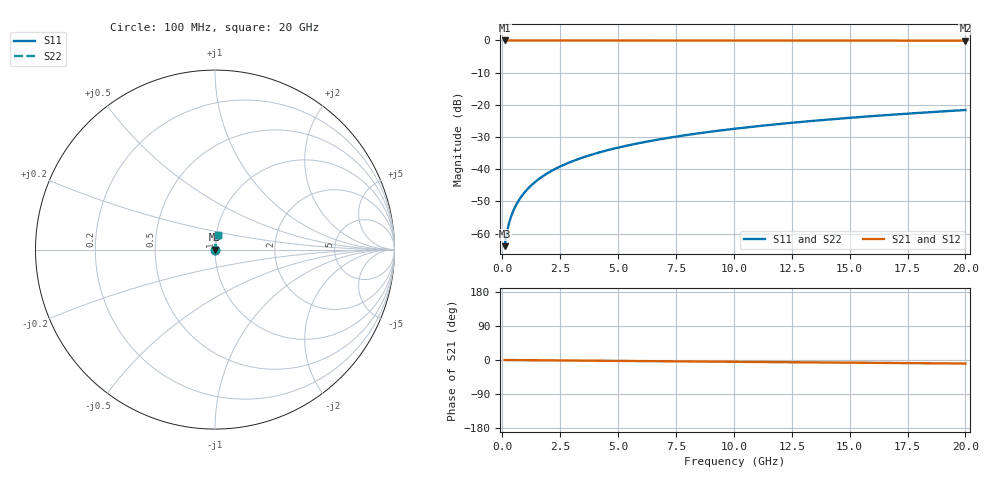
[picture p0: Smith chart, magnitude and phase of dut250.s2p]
! Touchstone file exported from HFSS 2026.1.0
!  File:  C:/ffzhzh/LocalFiles/Ansys_Project_Files/temp_train_TMRDL_250_1782984817_45328.aedt
!  Generated:  05:34:47 PM Jul  2, 2026
!  Design:  TMRDL
!  Project:  temp_train_TMRDL_250_1782984817_45328
! Variables:
!  h_bsmrdl = 2um
!  h_ox = 20um
!  h_rdl = 5um
!  h_sub = 80um
!  h_tmrdl = 5.84um
!  h_tsv = 80um
!  h_via = 3um
!  l_bsmrdl = 300um
!  l_sub = 510.5um
!  l_tmrdl = 110.5um
!  m_sub = 200um
!  pitch = 48.65um
!  r_tsv = 6um
!  s_tmrdl = 10um
!  w_bsmrdl = 18um
!  w_sub = 500um
!  w_tmrdl = 25.41um
!  x_tsv_center1 = 123.205um
!  x_tsv_center2 = 441.205um
!  x_tsv_center3 = 577.115um
!  x_tsv_center4 = 895.115um
!  x_tsv_center5 = 1031.025um
!  x_tsv_center6 = 1349.025um
# GHz S MA R 50.000000
! Terminal data exported
! Port[1] = TM_RDL1_1_T1
! Port[2] = TM_RDL1_1_T2
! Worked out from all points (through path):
!   200 points, 100 MHz to 20 GHz, reference 50 ohm
!   highest |S21| = 0.00 dB at 100 MHz (marker M1); lowest = -0.1 dB at 20 GHz (marker M2)
!   group delay of S21, straight-line fit = 1.29 ps
!   lowest |S11| = -63.9 dB at 100 MHz (marker M3), VSWR 1.00, Z = 50 + j0.0488 ohm
!   |S11| at or under -10 dB: start of sweep to end of sweep
!   |S22| runs from -63.9 to -21.6 dB; largest |S21 - S12| = 3.1e-15
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0.1  0.0006364 50.0  0.9996 -0.1  0.9996 -0.1  0.0006364 50.0
! Gamma 0 0 0 0
! Port Impedance 50 0 50 0
0.2  0.001057 65.5  0.9996 -0.1  0.9996 -0.1  0.001057 65.5
0.3  0.001496 71.5  0.9995 -0.1  0.9995 -0.1  0.001496 71.5
0.4  0.001932 74.8  0.9995 -0.2  0.9995 -0.2  0.001932 74.8
0.5  0.002365 76.9  0.9995 -0.2  0.9995 -0.2  0.002365 76.9
0.7  0.003226 79.6  0.9994 -0.3  0.9994 -0.3  0.003226 79.6
0.8  0.003658 80.5  0.9994 -0.4  0.9994 -0.4  0.003658 80.5
1  0.004522 81.8  0.9994 -0.5  0.9994 -0.5  0.004522 81.8
1.2  0.005388 82.7  0.9993 -0.6  0.9993 -0.6  0.005388 82.7
1.4  0.006256 83.3  0.9993 -0.7  0.9993 -0.7  0.006256 83.3
1.7  0.007557 83.9  0.9993 -0.8  0.9993 -0.8  0.007557 83.9
2  0.008857 84.3  0.9992 -1.0  0.9992 -1.0  0.008857 84.3
2.7  0.01188 84.6  0.9991 -1.3  0.9991 -1.3  0.01188 84.6
3.5  0.01529 84.7  0.9989 -1.7  0.9989 -1.7  0.01529 84.7
4.2  0.01826 84.6  0.9987 -2.0  0.9987 -2.0  0.01826 84.6
5  0.02162 84.4  0.9986 -2.4  0.9986 -2.4  0.02162 84.4
6.8  0.02912 83.9  0.9981 -3.2  0.9981 -3.2  0.02912 83.9
8.3  0.03533 83.4  0.9977 -3.9  0.9977 -3.9  0.03533 83.4
10.1  0.04274 82.8  0.9973 -4.7  0.9973 -4.7  0.04274 82.8
13.4  0.05626 81.6  0.9964 -6.3  0.9964 -6.3  0.05626 81.6
16.7  0.06968 80.3  0.9953 -7.8  0.9953 -7.8  0.06968 80.3
20  0.08297 78.9  0.994 -9.3  0.994 -9.3  0.08297 78.9
